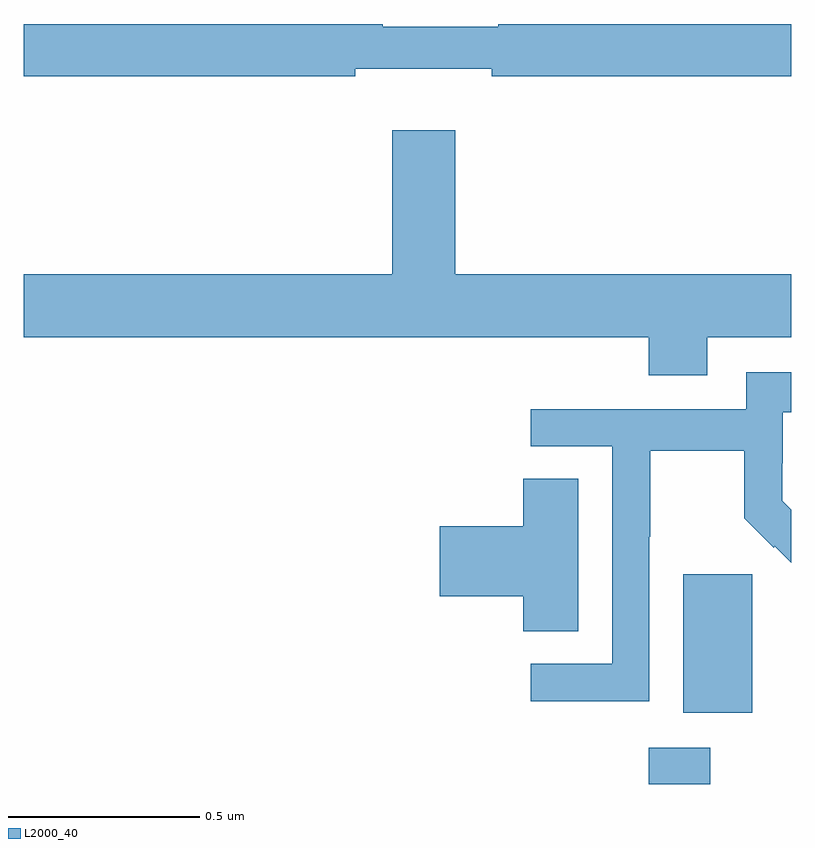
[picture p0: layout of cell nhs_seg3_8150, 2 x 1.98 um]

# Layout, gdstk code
import gdstk
lib = gdstk.Library(unit=1e-6, precision=1e-09)
def R(c, l, rs):  # rectangles x0, y0, x1, y1
    for r in rs: c.add(gdstk.rectangle(r[:2], r[2:], *l))
def P(c, l, *ps):  # polygons
    for p in ps: c.add(gdstk.Polygon(p, *l))
L2000_40 = (2000, 40)

nhs_seg3_8150 = lib.new_cell('nhs_seg3_8150')
R(nhs_seg3_8150, L2000_40, [(213.629,718.4,213.789,718.495), (213.719,718.586,213.898,718.947)])
P(nhs_seg3_8150, L2000_40, [(212.864,720.263),(213.22,720.263),(213.22,720.244),(214,720.244),(214,720.38),(213.236,720.38),(213.236,720.373),(212.936,720.373),(212.936,720.38),(212,720.38),(212,720.244),(212.864,720.244)],
  [(213.781,719.564),(214,719.564),(214,719.728),(213.124,719.728),(213.124,720.103),(212.96,720.103),(212.96,719.728),(212,719.728),(212,719.564),(213.629,719.564),(213.629,719.465),(213.781,719.465)],
  [(213.63,719.044),(213.633,719.044),(213.633,719.268),(213.877,719.268),(213.877,719.093),(213.954,719.016),(213.957,719.019),(214,718.977),(214,719.114),(213.976,719.138),(213.976,719.235),(213.978,719.235),(213.978,719.369),(214,719.369),(214,719.473),(213.882,719.473),(213.882,719.376),(213.321,719.376),(213.321,719.28),(213.534,719.28),(213.534,718.713),(213.321,718.713),(213.321,718.615),(213.63,718.615)],
  [(213.445,719.195),(213.302,719.195),(213.302,719.072),(213.084,719.072),(213.084,718.889),(213.302,718.889),(213.302,718.798),(213.445,718.798)])

lib.write_gds('nhs_seg3_8150.gds')
